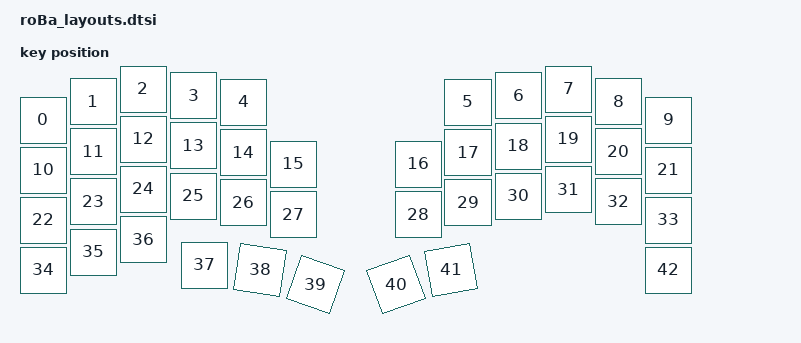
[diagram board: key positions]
#include <physical_layouts.dtsi>

/ {
    physical_layout0: physical_layout_0 {
        compatible = "zmk,physical-layout";
        display-name = "default_layout";

        keys  //                     w   h    x    y     rot    rx    ry
            = <&key_physical_attrs 100 100    0   62       0     0     0>
            , <&key_physical_attrs 100 100  100   25       0     0     0>
            , <&key_physical_attrs 100 100  200    0       0     0     0>
            , <&key_physical_attrs 100 100  301   13       0     0     0>
            , <&key_physical_attrs 100 100  401   26       0     0     0>
            , <&key_physical_attrs 100 100  850   26       0     0     0>
            , <&key_physical_attrs 100 100  951   13       0     0     0>
            , <&key_physical_attrs 100 100 1051    0       0     0     0>
            , <&key_physical_attrs 100 100 1151   25       0     0     0>
            , <&key_physical_attrs 100 100 1251   62       0     0     0>
            , <&key_physical_attrs 100 100    0  162       0     0     0>
            , <&key_physical_attrs 100 100  100  125       0     0     0>
            , <&key_physical_attrs 100 100  200  100       0     0     0>
            , <&key_physical_attrs 100 100  301  113       0     0     0>
            , <&key_physical_attrs 100 100  401  127       0     0     0>
            , <&key_physical_attrs 100 100  501  150       0     0     0>
            , <&key_physical_attrs 100 100  750  150       0     0     0>
            , <&key_physical_attrs 100 100  850  127       0     0     0>
            , <&key_physical_attrs 100 100  951  114       0     0     0>
            , <&key_physical_attrs 100 100 1051  100       0     0     0>
            , <&key_physical_attrs 100 100 1151  125       0     0     0>
            , <&key_physical_attrs 100 100 1251  162       0     0     0>
            , <&key_physical_attrs 100 100    0  262       0     0     0>
            , <&key_physical_attrs 100 100  100  225       0     0     0>
            , <&key_physical_attrs 100 100  200  200       0     0     0>
            , <&key_physical_attrs 100 100  301  214       0     0     0>
            , <&key_physical_attrs 100 100  401  227       0     0     0>
            , <&key_physical_attrs 100 100  501  251       0     0     0>
            , <&key_physical_attrs 100 100  750  251       0     0     0>
            , <&key_physical_attrs 100 100  850  227       0     0     0>
            , <&key_physical_attrs 100 100  951  214       0     0     0>
            , <&key_physical_attrs 100 100 1051  201       0     0     0>
            , <&key_physical_attrs 100 100 1151  225       0     0     0>
            , <&key_physical_attrs 100 100 1251  262       0     0     0>
            , <&key_physical_attrs 100 100    0  362       0     0     0>
            , <&key_physical_attrs 100 100  100  326       0     0     0>
            , <&key_physical_attrs 100 100  200  301       0     0     0>
            , <&key_physical_attrs 100 100  322  352       0     0     0>
            , <&key_physical_attrs 100 100  434  362     900   484   412>
            , <&key_physical_attrs 100 100  545  391    2000   595   441>
            , <&key_physical_attrs 100 100  706  391 (-2000)   756   441>
            , <&key_physical_attrs 100 100  816  362 (-1000)   866   412>
            , <&key_physical_attrs 100 100 1251  362       0     0     0>
            ;
    };
};
